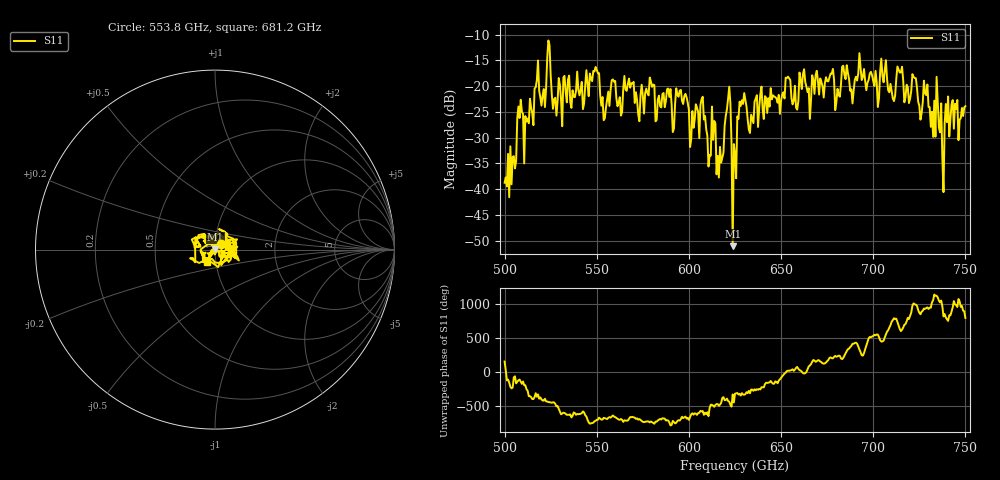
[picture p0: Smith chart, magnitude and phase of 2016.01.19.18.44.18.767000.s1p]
!Created with skrf (http://scikit-rf.org).
# GHz S RI R 50.0
!freq ReS11 ImS11
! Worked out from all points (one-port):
!   401 points, 500 GHz to 750 GHz, reference 50 ohm
!   lowest |S11| = -51.0 dB at 623.8 GHz (marker M1), VSWR 1.01, Z = 50.2 + j0.131 ohm
!   |S11| at or under -10 dB: start of sweep to end of sweep
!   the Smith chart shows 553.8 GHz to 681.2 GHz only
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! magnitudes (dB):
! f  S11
! 500 GHz  -38.7
! 505 GHz  -33.6
! 508.1 GHz  -26.2
! 511.9 GHz  -26.9
! 523.8 GHz  -11.1
! 526.9 GHz  -22.5
! 531.2 GHz  -27.8
! 549.4 GHz  -16.3
! 553.8 GHz  -26.6
! 558.8 GHz  -18.7
! 562.5 GHz  -22.1
! 593.8 GHz  -21.6
! 601.9 GHz  -24.8
! 607.5 GHz  -22.1
! 616.2 GHz  -37.7
! 621.2 GHz  -22.4
! 623.8 GHz  -51.0
! 625 GHz  -33.1
! 628.8 GHz  -22.7
! 633.8 GHz  -25.5
! 656.2 GHz  -23.5
! 687.5 GHz  -20.9
! 710.6 GHz  -22.4
! 714.4 GHz  -17.4
! 718.8 GHz  -20.2
! 735.6 GHz  -28.0
! 736.9 GHz  -23.3
! 750 GHz  -23.9
